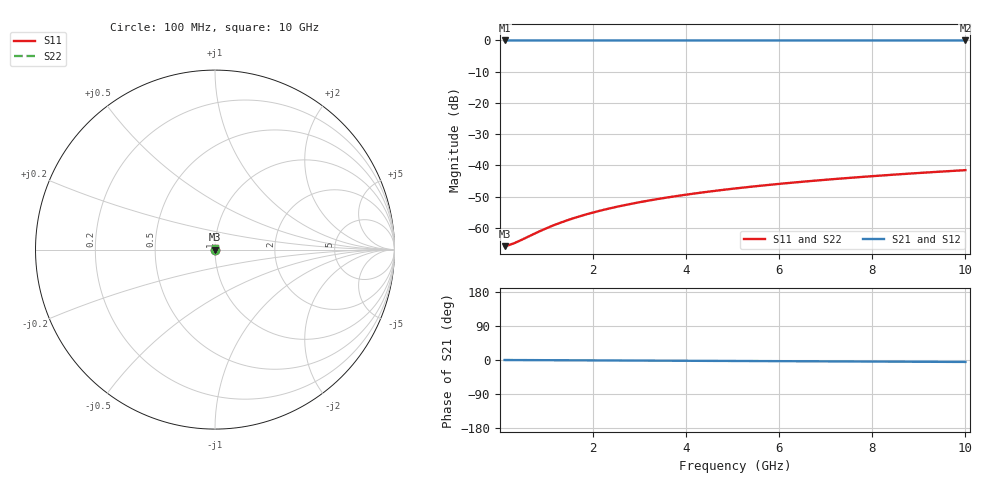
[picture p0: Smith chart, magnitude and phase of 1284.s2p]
# Hz S RI R 50.00
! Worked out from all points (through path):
!   100 points, 100 MHz to 10 GHz, reference 50 ohm
!   highest |S21| = 0.00 dB at 100 MHz (marker M1); lowest = 0.0 dB at 10 GHz (marker M2)
!   lowest |S11| = -65.8 dB at 100 MHz (marker M3), VSWR 1.00, Z = 50.1 + j0.00838 ohm
!   |S11| at or under -10 dB: start of sweep to end of sweep
!   |S22| runs from -65.8 to -41.5 dB; largest |S21 - S12| = 0
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1e8  0.000503 8.38e-05  0.9995 -0.000891  0.9995 -0.000891  0.000503 8.38e-05
2e8  0.000506 0.000168  0.9995 -0.00178  0.9995 -0.00178  0.000506 0.000168
3e8  0.000509 0.000251  0.9995 -0.00267  0.9995 -0.00267  0.000509 0.000251
4e8  0.000511 0.000335  0.9995 -0.00357  0.9995 -0.00357  0.000511 0.000335
9e8  0.000521 0.000754  0.9994 -0.00802  0.9994 -0.00802  0.000521 0.000754
1.2e9  0.000528 0.001  0.9994 -0.0107  0.9994 -0.0107  0.000528 0.001
1.5e9  0.000536 0.00126  0.9994 -0.0134  0.9994 -0.0134  0.000536 0.00126
1.8e9  0.000544 0.00151  0.9993 -0.016  0.9993 -0.016  0.000544 0.00151
2.1e9  0.000554 0.00176  0.9993 -0.0187  0.9993 -0.0187  0.000554 0.00176
2.5e9  0.000569 0.00209  0.9992 -0.0223  0.9992 -0.0223  0.000569 0.00209
2.9e9  0.000587 0.00242  0.9991 -0.0259  0.9991 -0.0259  0.000587 0.00242
3.4e9  0.000612 0.00284  0.999 -0.0303  0.999 -0.0303  0.000612 0.00284
3.8e9  0.000634 0.00317  0.9989 -0.0339  0.9989 -0.0339  0.000634 0.00317
4.2e9  0.000659 0.00351  0.9987 -0.0375  0.9987 -0.0375  0.000659 0.00351
4.6e9  0.000686 0.00384  0.9986 -0.041  0.9986 -0.041  0.000686 0.00384
5.1e9  0.000723 0.00425  0.9984 -0.0455  0.9984 -0.0455  0.000723 0.00425
5.9e9  0.00079 0.00492  0.998 -0.0527  0.998 -0.0527  0.00079 0.00492
6.7e9  0.000867 0.00558  0.9976 -0.0598  0.9976 -0.0598  0.000867 0.00558
7.5e9  0.000953 0.00624  0.9971 -0.067  0.9971 -0.067  0.000953 0.00624
8.4e9  0.00106 0.00698  0.9966 -0.075  0.9966 -0.075  0.00106 0.00698
9.2e9  0.00117 0.00764  0.996 -0.0822  0.996 -0.0822  0.00117 0.00764
1e10  0.00129 0.0083  0.9953 -0.0894  0.9953 -0.0894  0.00129 0.0083
